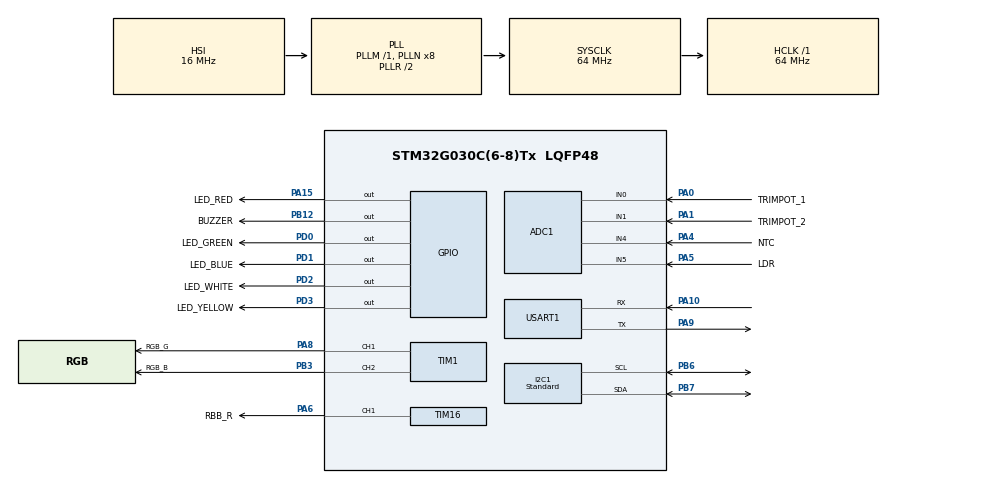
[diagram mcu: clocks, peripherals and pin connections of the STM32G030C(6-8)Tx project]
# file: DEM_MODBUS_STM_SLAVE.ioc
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ADC1.Channel-0\#ChannelRegularConversion=ADC_CHANNEL_0
ADC1.Channel-1\#ChannelRegularConversion=ADC_CHANNEL_1
ADC1.Channel-2\#ChannelRegularConversion=ADC_CHANNEL_4
ADC1.Channel-3\#ChannelRegularConversion=ADC_CHANNEL_5
ADC1.ContinuousConvMode=DISABLE
ADC1.DMAContinuousRequests=DISABLE
ADC1.EOCSelection=ADC_EOC_SEQ_CONV
ADC1.NbrOfConversion=4
ADC1.NbrOfConversionFlag=1
ADC1.Rank-0\#ChannelRegularConversion=1
ADC1.Rank-1\#ChannelRegularConversion=2
ADC1.Rank-2\#ChannelRegularConversion=3
ADC1.Rank-3\#ChannelRegularConversion=4
ADC1.SamplingTime-0\#ChannelRegularConversion=ADC_SAMPLINGTIME_COMMON_1
ADC1.SamplingTime-1\#ChannelRegularConversion=ADC_SAMPLINGTIME_COMMON_1
ADC1.SamplingTime-2\#ChannelRegularConversion=ADC_SAMPLINGTIME_COMMON_1
ADC1.SamplingTime-3\#ChannelRegularConversion=ADC_SAMPLINGTIME_COMMON_1
ADC1.SamplingTimeCommon1=ADC_SAMPLETIME_160CYCLES_5
ADC1.SamplingTimeCommon2=ADC_SAMPLETIME_160CYCLES_5
ADC1.SelectedChannel=ADC_CHANNEL_0|ADC_CHANNEL_1|ADC_CHANNEL_4|ADC_CHANNEL_5
ADC1.master=1
Dma.ADC1.0.Direction=DMA_PERIPH_TO_MEMORY
Dma.ADC1.0.EventEnable=DISABLE
Dma.ADC1.0.Instance=DMA1_Channel1
Dma.ADC1.0.MemDataAlignment=DMA_MDATAALIGN_HALFWORD
Dma.ADC1.0.MemInc=DMA_MINC_ENABLE
Dma.ADC1.0.Mode=DMA_NORMAL
Dma.ADC1.0.PeriphDataAlignment=DMA_PDATAALIGN_HALFWORD
Dma.ADC1.0.PeriphInc=DMA_PINC_DISABLE
Dma.ADC1.0.Polarity=HAL_DMAMUX_REQ_GEN_RISING
Dma.ADC1.0.Priority=DMA_PRIORITY_LOW
Dma.ADC1.0.RequestNumber=1
Dma.ADC1.0.SignalID=NONE
Dma.ADC1.0.SyncEnable=DISABLE
Dma.ADC1.0.SyncPolarity=HAL_DMAMUX_SYNC_NO_EVENT
Dma.ADC1.0.SyncRequestNumber=1
Dma.ADC1.0.SyncSignalID=NONE
Dma.Request0=ADC1
I2C1.CustomTiming=Enabled
I2C1.I2C_Speed_Mode=I2C_Standard
I2C1.Timing=0x10B17DB5
Mcu.Family=STM32G0
Mcu.Name=STM32G030C(6-8)Tx
Mcu.Package=LQFP48
NVIC.DMA1_Channel1_IRQn=true\:0\:0\:false\:false\:true\:false\:true\:true
NVIC.USART1_IRQn=true\:0\:0\:false\:false\:true\:true\:true\:true
PA0.GPIO_Label=TRIMPOT_1
PA0.Mode=IN0
PA0.Signal=ADC1_IN0
PA1.GPIO_Label=TRIMPOT_2
PA1.Mode=IN1
PA1.Signal=ADC1_IN1
PA10.Mode=Asynchronous
PA10.Signal=USART1_RX
PA13.Mode=Serial_Wire
PA13.Signal=SYS_SWDIO
PA14-BOOT0.Mode=Serial_Wire
PA14-BOOT0.Signal=SYS_SWCLK
PA15.GPIO_Label=LED_RED
PA15.Signal=GPIO_Output
PA4.GPIO_Label=NTC
PA4.Mode=IN4
PA4.Signal=ADC1_IN4
PA5.GPIO_Label=LDR
PA5.Mode=IN5
PA5.Signal=ADC1_IN5
PA6.GPIO_Label=RBB_R
PA6.Signal=S_TIM16_CH1
PA8.GPIO_Label=RGB_G
PA8.Signal=S_TIM1_CH1
PA9.Mode=Asynchronous
PA9.Signal=USART1_TX
PB12.GPIO_Label=BUZZER
PB12.Signal=GPIO_Output
PB3.GPIO_Label=RGB_B
PB3.Signal=S_TIM1_CH2
PB6.Mode=I2C
PB6.Signal=I2C1_SCL
PB7.Mode=I2C
PB7.Signal=I2C1_SDA
PC14-OSC32_IN\ (PC14).Mode=LSE-External-Oscillator
PC14-OSC32_IN\ (PC14).Signal=RCC_OSC32_IN
PC15-OSC32_OUT\ (PC15).Mode=LSE-External-Oscillator
PC15-OSC32_OUT\ (PC15).Signal=RCC_OSC32_OUT
PD0.GPIO_Label=LED_GREEN
PD0.Signal=GPIO_Output
PD1.GPIO_Label=LED_BLUE
PD1.Signal=GPIO_Output
PD2.GPIO_Label=LED_WHITE
PD2.Signal=GPIO_Output
PD3.GPIO_Label=LED_YELLOW
PD3.Signal=GPIO_Output
PF0-OSC_IN\ (PF0).Mode=HSE-External-Oscillator
PF0-OSC_IN\ (PF0).Signal=RCC_OSC_IN
PF1-OSC_OUT\ (PF1).Mode=HSE-External-Oscillator
PF1-OSC_OUT\ (PF1).Signal=RCC_OSC_OUT
ProjectManager.HeapSize=0x200
ProjectManager.StackSize=0x400
ProjectManager.TargetToolchain=STM32CubeIDE
RCC.ADCFreq_Value=64000000
RCC.AHBFreq_Value=64000000
RCC.CortexFreq_Value=64000000
RCC.EXTERNAL_CLOCK_VALUE=12288000
RCC.HCLKFreq_Value=64000000
RCC.HSE_VALUE=8000000
RCC.HSI_VALUE=16000000
RCC.SYSCLKFreq_VALUE=64000000
RCC.SYSCLKSource=RCC_SYSCLKSOURCE_PLLCLK
RCC.VCOOutputFreq_Value=128000000
SH.S_TIM16_CH1.0=TIM16_CH1,PWM Generation1 CH1
SH.S_TIM1_CH1.0=TIM1_CH1,PWM Generation1 CH1
SH.S_TIM1_CH2.0=TIM1_CH2,PWM Generation2 CH2
TIM1.Channel-PWM\ Generation1\ CH1=TIM_CHANNEL_1
TIM1.Channel-PWM\ Generation2\ CH2=TIM_CHANNEL_2
TIM16.Channel=TIM_CHANNEL_1
USART1.VirtualMode-Asynchronous=VM_ASYNC
VP_RTC_VS_RTC_Activate.Mode=RTC_Enabled
VP_TIM16_VS_ClockSourceINT.Mode=Enable_Timer
board=custom

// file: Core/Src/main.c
/* USER CODE BEGIN Header */
/**
 ******************************************************************************
 * @file           : main.c
 * @brief          : Main program body
 ******************************************************************************
 * @attention
 *
 * Copyright (c) 2025 STMicroelectronics.
 * All rights reserved.
 *
 * This software is licensed under terms that can be found in the LICENSE file
 * in the root directory of this software component.
 * If no LICENSE file comes with this software, it is provided AS-IS.
 *
 ******************************************************************************
 */
/* USER CODE END Header */
#include "main.h"

/* USER CODE BEGIN Includes */
#include "modbusSlave.h"
#include "inputs.h"
#include "outputs.h"
#include "string.h"
#include "stdio.h"
#include "lis2dw12_reg.h"
/* USER CODE END Includes */

/* USER CODE BEGIN PTD */

uint8_t RxData[256];
uint8_t TxData[256];

int isADCFinished = 0;
// This is the buffer where DMA will write the ADC values
volatile uint16_t ADC_VAL[4];
// This flag is defined in inputs.c, but we must tell main.c it exists
extern volatile uint8_t g_modbus_activity_flag;

SystemClockTimer_t SysClkTim;

volatile uint64_t SYSTickTimer = 0;
/* USER CODE END PTD */

ADC_HandleTypeDef hadc1;
DMA_HandleTypeDef hdma_adc1;

I2C_HandleTypeDef hi2c1;

RTC_HandleTypeDef hrtc;

TIM_HandleTypeDef htim1;
TIM_HandleTypeDef htim16;

UART_HandleTypeDef huart1;

void SystemClock_Config(void);
static void MX_GPIO_Init(void);
static void MX_DMA_Init(void);
static void MX_USART1_UART_Init(void);
static void MX_ADC1_Init(void);
static void MX_I2C1_Init(void);
static void MX_TIM1_Init(void);
static void MX_TIM16_Init(void);
static void MX_RTC_Init(void);

/* USER CODE BEGIN 0 */
/**
 * @brief  Modbus RTU packet reception callback.
 * @note   This is the entry point for all Modbus communication.
 */
void HAL_UARTEx_RxEventCallback(UART_HandleTypeDef *huart, uint16_t Size) {
	// Check if the received data is for our SLAVE_ID
	if (RxData[0] == SLAVE_ID) {
		// Set the activity flag for the Discrete Inputs (10002)
		g_modbus_activity_flag = 1;

		// (Recommended: Add CRC Check here)
		// uint16_t received_crc = (RxData[Size - 1] << 8) | RxData[Size - 2];
		// if (crc16(RxData, Size - 2) == received_crc)
		// {

		// Process the Function Code
		switch (RxData[1]) {
		case 0x03:
			readHoldingRegs();
			break;
		case 0x04:
			readInputRegs();
			break;
		case 0x01:
			readCoils();
			break;
		case 0x02:
			readInputs();
			break;
		case 0x06:
			writeSingleReg();
			break;
		case 0x10:
			writeHoldingRegs();
			break;
		case 0x05:
			writeSingleCoil();
			break;
		case 0x0F:
			writeMultiCoils();
			break;
		default:
			modbusException(ILLEGAL_FUNCTION);
			break;
		}
		// }
	}

	// Restart UART DMA reception
	HAL_UARTEx_ReceiveToIdle_IT(&huart1, RxData, 256);
}

/**
 * @brief  ADC DMA Conversion Complete Callback.
 * @note   This function is called by the DMA interrupt when 4 ADC channels are read.
 */
void HAL_ADC_ConvCpltCallback(ADC_HandleTypeDef *hadc) {
	// Pass the raw ADC data to the application layer for processing
	isADCFinished = 1;
	process_adc_data();
}

/**
 * @brief  SYSTICK timer callback, called every 1ms.
 * @note   This function only increments the master counter and sets flags.
 * The master counter is never reset (it overflows after 49 days).
 */
void HAL_SYSTICK_Callback(void) {

	// Increment the master timer
	SYSTickTimer++;

	// Set flags based on modulo operation
	if (SYSTickTimer % 10 == 0) {
		SysClkTim._10msn = 1;
	}
	if (SYSTickTimer % 40 == 0) {
		SysClkTim._40msn = 1;
	}
	if (SYSTickTimer % 100 == 0) {
		SysClkTim._100msn = 1;
	}
	if (SYSTickTimer % 250 == 0) {
		SysClkTim._250msn = 1;
	}
	if (SYSTickTimer % 500 == 0) {
		SysClkTim._500msn = 1;
	}
	if (SYSTickTimer % 750 == 0) {
		SysClkTim._750msn = 1;
	}
	if (SYSTickTimer % 1000 == 0) {
		SysClkTim._1sn = 1;
	}
}
/* USER CODE END 0 */

int main(void)
{

  /* MCU Configuration--------------------------------------------------------*/

  /* Reset of all peripherals, Initializes the Flash interface and the Systick. */
  HAL_Init();

  /* Configure the system clock */
  SystemClock_Config();

  /* Initialize all configured peripherals */
  MX_GPIO_Init();
  MX_DMA_Init();
  MX_USART1_UART_Init();
  MX_ADC1_Init();
  MX_I2C1_Init();
  MX_TIM1_Init();
  MX_TIM16_Init();
  MX_RTC_Init();
  /* USER CODE BEGIN 2 */
	// Start Modbus UART reception
	HAL_UARTEx_ReceiveToIdle_IT(&huart1, RxData, 256);

	// Initialize application sensors (IMU)
	init_inputs();

	// Initialize application outputs (Start PWM Timers)
	init_outputs();

	// Start ADC conversion with DMA in Circular Mode
	HAL_ADC_Start_DMA(&hadc1, (uint32_t*) ADC_VAL, 4);

  /* USER CODE END 2 */

  /* Infinite loop */
  /* USER CODE BEGIN WHILE */
	while (1) {
		/* Task 1: IMU Task (40ms period) */
		if (SysClkTim._40msn == 1) {
			SysClkTim._40msn = 0; // Clear the flag
			update_imu_angles();
		}

		/* Task 2: System Stats Task (750ms period) */
		if (SysClkTim._750msn == 1) {
			SysClkTim._750msn = 0; // Clear the flag
			update_register_inputs();   // Update Uptime, Counters
			update_discrete_inputs(); // Update system status flags
		}

		/* Task 3: Output Control Task (10ms period) */
		if (SysClkTim._10msn == 1) {
			SysClkTim._10msn = 0; // Clear the flag
			update_outputs(); // Check Modbus DB and update PWM/GPIOs
		}
		if (SysClkTim._100msn == 1) {
			SysClkTim._100msn = 0; // Clear the flag
			if (isADCFinished == 1) {
				isADCFinished = 0;
				HAL_ADC_Start_DMA(&hadc1, (uint32_t*) ADC_VAL, 4);
			}
		}

    /* USER CODE END WHILE */

	}
}

void SystemClock_Config(void)
{
  RCC_OscInitTypeDef RCC_OscInitStruct = {0};
  RCC_ClkInitTypeDef RCC_ClkInitStruct = {0};

  /** Configure the main internal regulator output voltage
  */
  HAL_PWREx_ControlVoltageScaling(PWR_REGULATOR_VOLTAGE_SCALE1);

  /** Initializes the RCC Oscillators according to the specified parameters
  * in the RCC_OscInitTypeDef structure.
  */
  RCC_OscInitStruct.OscillatorType = RCC_OSCILLATORTYPE_HSI|RCC_OSCILLATORTYPE_LSI;
  RCC_OscInitStruct.HSIState = RCC_HSI_ON;
  RCC_OscInitStruct.HSIDiv = RCC_HSI_DIV1;
  RCC_OscInitStruct.HSICalibrationValue = RCC_HSICALIBRATION_DEFAULT;
  RCC_OscInitStruct.LSIState = RCC_LSI_ON;
  RCC_OscInitStruct.PLL.PLLState = RCC_PLL_ON;
  RCC_OscInitStruct.PLL.PLLSource = RCC_PLLSOURCE_HSI;
  RCC_OscInitStruct.PLL.PLLM = RCC_PLLM_DIV1;
  RCC_OscInitStruct.PLL.PLLN = 8;
  RCC_OscInitStruct.PLL.PLLP = RCC_PLLP_DIV2;
  RCC_OscInitStruct.PLL.PLLR = RCC_PLLR_DIV2;
  if (HAL_RCC_OscConfig(&RCC_OscInitStruct) != HAL_OK)
  {
    Error_Handler();
  }

  /** Initializes the CPU, AHB and APB buses clocks
  */
  RCC_ClkInitStruct.ClockType = RCC_CLOCKTYPE_HCLK|RCC_CLOCKTYPE_SYSCLK
                              |RCC_CLOCKTYPE_PCLK1;
  RCC_ClkInitStruct.SYSCLKSource = RCC_SYSCLKSOURCE_PLLCLK;
  RCC_ClkInitStruct.AHBCLKDivider = RCC_SYSCLK_DIV1;
  RCC_ClkInitStruct.APB1CLKDivider = RCC_HCLK_DIV1;

  if (HAL_RCC_ClockConfig(&RCC_ClkInitStruct, FLASH_LATENCY_2) != HAL_OK)
  {
    Error_Handler();
  }
}

static void MX_ADC1_Init(void)
{

  ADC_ChannelConfTypeDef sConfig = {0};

  /** Configure the global features of the ADC (Clock, Resolution, Data Alignment and number of conversion)
  */
  hadc1.Instance = ADC1;
  hadc1.Init.ClockPrescaler = ADC_CLOCK_SYNC_PCLK_DIV2;
  hadc1.Init.Resolution = ADC_RESOLUTION_12B;
  hadc1.Init.DataAlign = ADC_DATAALIGN_RIGHT;
  hadc1.Init.ScanConvMode = ADC_SCAN_ENABLE;
  hadc1.Init.EOCSelection = ADC_EOC_SEQ_CONV;
  hadc1.Init.LowPowerAutoWait = DISABLE;
  hadc1.Init.LowPowerAutoPowerOff = DISABLE;
  hadc1.Init.ContinuousConvMode = DISABLE;
  hadc1.Init.NbrOfConversion = 4;
  hadc1.Init.DiscontinuousConvMode = DISABLE;
  hadc1.Init.ExternalTrigConv = ADC_SOFTWARE_START;
  hadc1.Init.ExternalTrigConvEdge = ADC_EXTERNALTRIGCONVEDGE_NONE;
  hadc1.Init.DMAContinuousRequests = DISABLE;
  hadc1.Init.Overrun = ADC_OVR_DATA_PRESERVED;
  hadc1.Init.SamplingTimeCommon1 = ADC_SAMPLETIME_160CYCLES_5;
  hadc1.Init.SamplingTimeCommon2 = ADC_SAMPLETIME_160CYCLES_5;
  hadc1.Init.OversamplingMode = DISABLE;
  hadc1.Init.TriggerFrequencyMode = ADC_TRIGGER_FREQ_HIGH;
  if (HAL_ADC_Init(&hadc1) != HAL_OK)
  {
    Error_Handler();
  }

  /** Configure Regular Channel
  */
  sConfig.Channel = ADC_CHANNEL_0;
  sConfig.Rank = ADC_REGULAR_RANK_1;
  sConfig.SamplingTime = ADC_SAMPLINGTIME_COMMON_1;
  if (HAL_ADC_ConfigChannel(&hadc1, &sConfig) != HAL_OK)
  {
    Error_Handler();
  }

  /** Configure Regular Channel
  */
  sConfig.Channel = ADC_CHANNEL_1;
  sConfig.Rank = ADC_REGULAR_RANK_2;
  if (HAL_ADC_ConfigChannel(&hadc1, &sConfig) != HAL_OK)
  {
    Error_Handler();
  }

  /** Configure Regular Channel
  */
  sConfig.Channel = ADC_CHANNEL_4;
  sConfig.Rank = ADC_REGULAR_RANK_3;
  if (HAL_ADC_ConfigChannel(&hadc1, &sConfig) != HAL_OK)
  {
    Error_Handler();
  }

  /** Configure Regular Channel
  */
  sConfig.Channel = ADC_CHANNEL_5;
  sConfig.Rank = ADC_REGULAR_RANK_4;
  if (HAL_ADC_ConfigChannel(&hadc1, &sConfig) != HAL_OK)
  {
    Error_Handler();
  }

}

static void MX_I2C1_Init(void)
{

  hi2c1.Instance = I2C1;
  hi2c1.Init.Timing = 0x10B17DB5;
  hi2c1.Init.OwnAddress1 = 0;
  hi2c1.Init.AddressingMode = I2C_ADDRESSINGMODE_7BIT;
  hi2c1.Init.DualAddressMode = I2C_DUALADDRESS_DISABLE;
  hi2c1.Init.OwnAddress2 = 0;
  hi2c1.Init.OwnAddress2Masks = I2C_OA2_NOMASK;
  hi2c1.Init.GeneralCallMode = I2C_GENERALCALL_DISABLE;
  hi2c1.Init.NoStretchMode = I2C_NOSTRETCH_DISABLE;
  if (HAL_I2C_Init(&hi2c1) != HAL_OK)
  {
    Error_Handler();
  }

  /** Configure Analogue filter
  */
  if (HAL_I2CEx_ConfigAnalogFilter(&hi2c1, I2C_ANALOGFILTER_ENABLE) != HAL_OK)
  {
    Error_Handler();
  }

  /** Configure Digital filter
  */
  if (HAL_I2CEx_ConfigDigitalFilter(&hi2c1, 0) != HAL_OK)
  {
    Error_Handler();
  }

}

static void MX_RTC_Init(void)
{

  /** Initialize RTC Only
  */
  hrtc.Instance = RTC;
  hrtc.Init.HourFormat = RTC_HOURFORMAT_24;
  hrtc.Init.AsynchPrediv = 127;
  hrtc.Init.SynchPrediv = 255;
  hrtc.Init.OutPut = RTC_OUTPUT_DISABLE;
  hrtc.Init.OutPutRemap = RTC_OUTPUT_REMAP_NONE;
  hrtc.Init.OutPutPolarity = RTC_OUTPUT_POLARITY_HIGH;
  hrtc.Init.OutPutType = RTC_OUTPUT_TYPE_OPENDRAIN;
  hrtc.Init.OutPutPullUp = RTC_OUTPUT_PULLUP_NONE;
  if (HAL_RTC_Init(&hrtc) != HAL_OK)
  {
    Error_Handler();
  }

}

static void MX_TIM1_Init(void)
{

  TIM_MasterConfigTypeDef sMasterConfig = {0};
  TIM_OC_InitTypeDef sConfigOC = {0};
  TIM_BreakDeadTimeConfigTypeDef sBreakDeadTimeConfig = {0};

  htim1.Instance = TIM1;
  htim1.Init.Prescaler = 0;
  htim1.Init.CounterMode = TIM_COUNTERMODE_UP;
  htim1.Init.Period = 65535;
  htim1.Init.ClockDivision = TIM_CLOCKDIVISION_DIV1;
  htim1.Init.RepetitionCounter = 0;
  htim1.Init.AutoReloadPreload = TIM_AUTORELOAD_PRELOAD_DISABLE;
  if (HAL_TIM_PWM_Init(&htim1) != HAL_OK)
  {
    Error_Handler();
  }
  sMasterConfig.MasterOutputTrigger = TIM_TRGO_RESET;
  sMasterConfig.MasterOutputTrigger2 = TIM_TRGO2_RESET;
  sMasterConfig.MasterSlaveMode = TIM_MASTERSLAVEMODE_DISABLE;
  if (HAL_TIMEx_MasterConfigSynchronization(&htim1, &sMasterConfig) != HAL_OK)
  {
    Error_Handler();
  }
  sConfigOC.OCMode = TIM_OCMODE_PWM1;
  sConfigOC.Pulse = 0;
  sConfigOC.OCPolarity = TIM_OCPOLARITY_HIGH;
  sConfigOC.OCNPolarity = TIM_OCNPOLARITY_HIGH;
  sConfigOC.OCFastMode = TIM_OCFAST_DISABLE;
  sConfigOC.OCIdleState = TIM_OCIDLESTATE_RESET;
  sConfigOC.OCNIdleState = TIM_OCNIDLESTATE_RESET;
  if (HAL_TIM_PWM_ConfigChannel(&htim1, &sConfigOC, TIM_CHANNEL_1) != HAL_OK)
  {
    Error_Handler();
  }
  if (HAL_TIM_PWM_ConfigChannel(&htim1, &sConfigOC, TIM_CHANNEL_2) != HAL_OK)
  {
    Error_Handler();
  }
  sBreakDeadTimeConfig.OffStateRunMode = TIM_OSSR_DISABLE;
  sBreakDeadTimeConfig.OffStateIDLEMode = TIM_OSSI_DISABLE;
  sBreakDeadTimeConfig.LockLevel = TIM_LOCKLEVEL_OFF;
  sBreakDeadTimeConfig.DeadTime = 0;
  sBreakDeadTimeConfig.BreakState = TIM_BREAK_DISABLE;
  sBreakDeadTimeConfig.BreakPolarity = TIM_BREAKPOLARITY_HIGH;
  sBreakDeadTimeConfig.BreakFilter = 0;
  sBreakDeadTimeConfig.BreakAFMode = TIM_BREAK_AFMODE_INPUT;
  sBreakDeadTimeConfig.Break2State = TIM_BREAK2_DISABLE;
  sBreakDeadTimeConfig.Break2Polarity = TIM_BREAK2POLARITY_HIGH;
  sBreakDeadTimeConfig.Break2Filter = 0;
  sBreakDeadTimeConfig.Break2AFMode = TIM_BREAK_AFMODE_INPUT;
  sBreakDeadTimeConfig.AutomaticOutput = TIM_AUTOMATICOUTPUT_DISABLE;
  if (HAL_TIMEx_ConfigBreakDeadTime(&htim1, &sBreakDeadTimeConfig) != HAL_OK)
  {
    Error_Handler();
  }
  HAL_TIM_MspPostInit(&htim1);

}

static void MX_TIM16_Init(void)
{

  TIM_OC_InitTypeDef sConfigOC = {0};
  TIM_BreakDeadTimeConfigTypeDef sBreakDeadTimeConfig = {0};

  htim16.Instance = TIM16;
  htim16.Init.Prescaler = 0;
  htim16.Init.CounterMode = TIM_COUNTERMODE_UP;
  htim16.Init.Period = 65535;
  htim16.Init.ClockDivision = TIM_CLOCKDIVISION_DIV1;
  htim16.Init.RepetitionCounter = 0;
  htim16.Init.AutoReloadPreload = TIM_AUTORELOAD_PRELOAD_DISABLE;
  if (HAL_TIM_Base_Init(&htim16) != HAL_OK)
  {
    Error_Handler();
  }
  if (HAL_TIM_PWM_Init(&htim16) != HAL_OK)
  {
    Error_Handler();
  }
  sConfigOC.OCMode = TIM_OCMODE_PWM1;
  sConfigOC.Pulse = 0;
  sConfigOC.OCPolarity = TIM_OCPOLARITY_HIGH;
  sConfigOC.OCNPolarity = TIM_OCNPOLARITY_HIGH;
  sConfigOC.OCFastMode = TIM_OCFAST_DISABLE;
  sConfigOC.OCIdleState = TIM_OCIDLESTATE_RESET;
  sConfigOC.OCNIdleState = TIM_OCNIDLESTATE_RESET;
  if (HAL_TIM_PWM_ConfigChannel(&htim16, &sConfigOC, TIM_CHANNEL_1) != HAL_OK)
  {
    Error_Handler();
  }
  sBreakDeadTimeConfig.OffStateRunMode = TIM_OSSR_DISABLE;
  sBreakDeadTimeConfig.OffStateIDLEMode = TIM_OSSI_DISABLE;
  sBreakDeadTimeConfig.LockLevel = TIM_LOCKLEVEL_OFF;
  sBreakDeadTimeConfig.DeadTime = 0;
  sBreakDeadTimeConfig.BreakState = TIM_BREAK_DISABLE;
  sBreakDeadTimeConfig.BreakPolarity = TIM_BREAKPOLARITY_HIGH;
  sBreakDeadTimeConfig.BreakFilter = 0;
  sBreakDeadTimeConfig.AutomaticOutput = TIM_AUTOMATICOUTPUT_DISABLE;
  if (HAL_TIMEx_ConfigBreakDeadTime(&htim16, &sBreakDeadTimeConfig) != HAL_OK)
  {
    Error_Handler();
  }
  HAL_TIM_MspPostInit(&htim16);

}

static void MX_USART1_UART_Init(void)
{

  huart1.Instance = USART1;
  huart1.Init.BaudRate = 115200;
  huart1.Init.WordLength = UART_WORDLENGTH_8B;
  huart1.Init.StopBits = UART_STOPBITS_1;
  huart1.Init.Parity = UART_PARITY_NONE;
  huart1.Init.Mode = UART_MODE_TX_RX;
  huart1.Init.HwFlowCtl = UART_HWCONTROL_NONE;
  huart1.Init.OverSampling = UART_OVERSAMPLING_16;
  huart1.Init.OneBitSampling = UART_ONE_BIT_SAMPLE_DISABLE;
  huart1.Init.ClockPrescaler = UART_PRESCALER_DIV1;
  huart1.AdvancedInit.AdvFeatureInit = UART_ADVFEATURE_NO_INIT;
  if (HAL_UART_Init(&huart1) != HAL_OK)
  {
    Error_Handler();
  }
  if (HAL_UARTEx_SetTxFifoThreshold(&huart1, UART_TXFIFO_THRESHOLD_1_8) != HAL_OK)
  {
    Error_Handler();
  }
  if (HAL_UARTEx_SetRxFifoThreshold(&huart1, UART_RXFIFO_THRESHOLD_1_8) != HAL_OK)
  {
    Error_Handler();
  }
  if (HAL_UARTEx_DisableFifoMode(&huart1) != HAL_OK)
  {
    Error_Handler();
  }

}

static void MX_DMA_Init(void)
{

  /* DMA controller clock enable */
  __HAL_RCC_DMA1_CLK_ENABLE();

  /* DMA interrupt init */
  /* DMA1_Channel1_IRQn interrupt configuration */
  HAL_NVIC_SetPriority(DMA1_Channel1_IRQn, 0, 0);
  HAL_NVIC_EnableIRQ(DMA1_Channel1_IRQn);

}

static void MX_GPIO_Init(void)
{
  GPIO_InitTypeDef GPIO_InitStruct = {0};

  /* GPIO Ports Clock Enable */
  __HAL_RCC_GPIOC_CLK_ENABLE();
  __HAL_RCC_GPIOF_CLK_ENABLE();
  __HAL_RCC_GPIOA_CLK_ENABLE();
  __HAL_RCC_GPIOB_CLK_ENABLE();
  __HAL_RCC_GPIOD_CLK_ENABLE();

  /*Configure GPIO pin Output Level */
  HAL_GPIO_WritePin(BUZZER_GPIO_Port, BUZZER_Pin, GPIO_PIN_RESET);

  /*Configure GPIO pin Output Level */
  HAL_GPIO_WritePin(LED_RED_GPIO_Port, LED_RED_Pin, GPIO_PIN_RESET);

  /*Configure GPIO pin Output Level */
  HAL_GPIO_WritePin(GPIOD, LED_GREEN_Pin|LED_BLUE_Pin|LED_WHITE_Pin|LED_YELLOW_Pin, GPIO_PIN_RESET);

  /*Configure GPIO pin : BUZZER_Pin */
  GPIO_InitStruct.Pin = BUZZER_Pin;
  GPIO_InitStruct.Mode = GPIO_MODE_OUTPUT_PP;
  GPIO_InitStruct.Pull = GPIO_NOPULL;
  GPIO_InitStruct.Speed = GPIO_SPEED_FREQ_LOW;
  HAL_GPIO_Init(BUZZER_GPIO_Port, &GPIO_InitStruct);

  /*Configure GPIO pin : LED_RED_Pin */
  GPIO_InitStruct.Pin = LED_RED_Pin;
  GPIO_InitStruct.Mode = GPIO_MODE_OUTPUT_PP;
  GPIO_InitStruct.Pull = GPIO_NOPULL;
  GPIO_InitStruct.Speed = GPIO_SPEED_FREQ_LOW;
  HAL_GPIO_Init(LED_RED_GPIO_Port, &GPIO_InitStruct);

  /*Configure GPIO pins : LED_GREEN_Pin LED_BLUE_Pin LED_WHITE_Pin LED_YELLOW_Pin */
  GPIO_InitStruct.Pin = LED_GREEN_Pin|LED_BLUE_Pin|LED_WHITE_Pin|LED_YELLOW_Pin;
  GPIO_InitStruct.Mode = GPIO_MODE_OUTPUT_PP;
  GPIO_InitStruct.Pull = GPIO_NOPULL;
  GPIO_InitStruct.Speed = GPIO_SPEED_FREQ_LOW;
  HAL_GPIO_Init(GPIOD, &GPIO_InitStruct);

}

void Error_Handler(void)
{
	__disable_irq();
	while (1) {
	}
}
